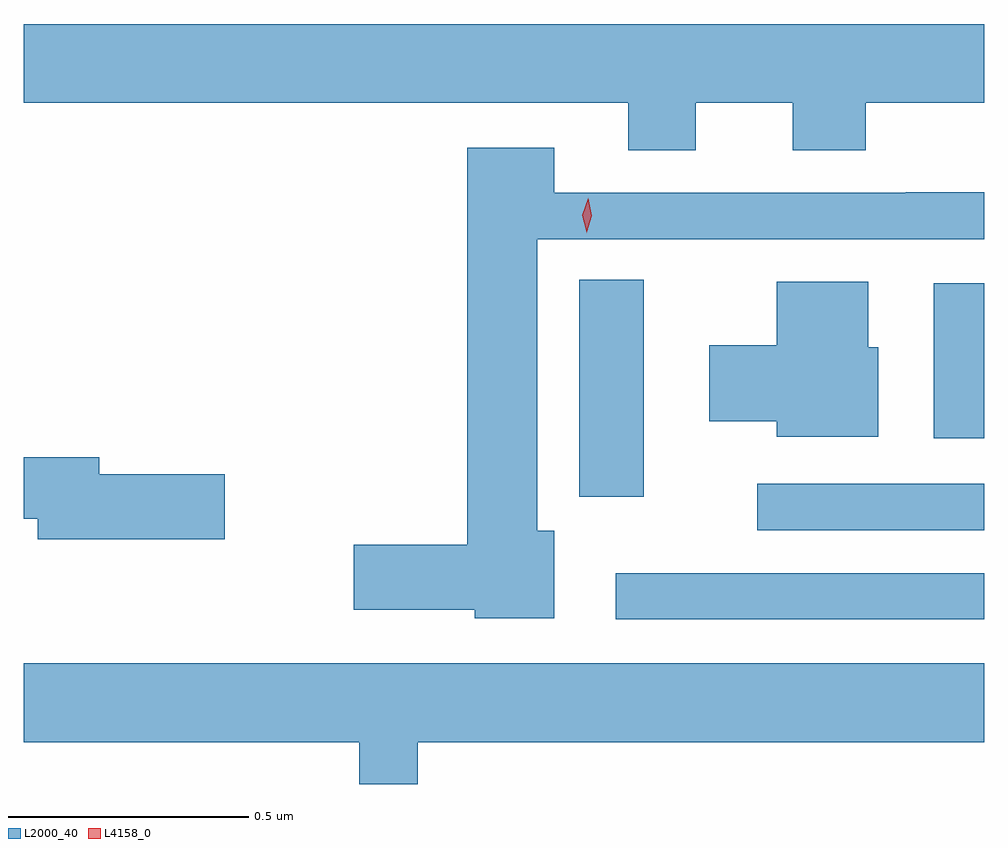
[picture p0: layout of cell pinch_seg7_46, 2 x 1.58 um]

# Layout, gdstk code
import gdstk
lib = gdstk.Library(unit=1e-6, precision=1e-09)
def R(c, l, rs):  # rectangles x0, y0, x1, y1
    for r in rs: c.add(gdstk.rectangle(r[:2], r[2:], *l))
def P(c, l, *ps):  # polygons
    for p in ps: c.add(gdstk.Polygon(p, *l))
L2000_40 = (2000, 40)
L4158_0 = (4158, 0)

pinch_seg7_46 = lib.new_cell('pinch_seg7_46')
R(pinch_seg7_46, L2000_40, [(1018.14,1064.808,1018.907,1064.904), (1018.434,1064.994,1018.907,1065.09), (1018.064,1065.063,1018.198,1065.515), (1018.802,1065.185,1018.907,1065.508)])
P(pinch_seg7_46, L2000_40, [(1018.306,1065.884),(1018.508,1065.884),(1018.508,1065.785),(1018.661,1065.785),(1018.661,1065.884),(1018.907,1065.884),(1018.907,1066.048),(1016.907,1066.048),(1016.907,1065.884),(1018.166,1065.884),(1018.166,1065.785),(1018.306,1065.785)],
  [(1018.012,1064.992),(1017.976,1064.992),(1017.976,1065.6),(1018.907,1065.6),(1018.907,1065.698),(1018.744,1065.698),(1018.744,1065.696),(1018.012,1065.696),(1018.012,1065.79),(1017.83,1065.79),(1017.83,1064.963),(1017.594,1064.963),(1017.594,1064.828),(1017.846,1064.828),(1017.846,1064.81),(1018.012,1064.81)],
  [(1018.687,1065.375),(1018.666,1065.375),(1018.666,1065.511),(1018.475,1065.511),(1018.475,1065.379),(1018.335,1065.379),(1018.335,1065.221),(1018.475,1065.221),(1018.475,1065.188),(1018.687,1065.188)],
  [(1017.325,1065.11),(1017.064,1065.11),(1017.064,1065.146),(1016.907,1065.146),(1016.907,1065.018),(1016.936,1065.018),(1016.936,1064.975),(1017.325,1064.975)],
  [(1016.907,1064.552),(1017.605,1064.552),(1017.605,1064.465),(1017.727,1064.465),(1017.727,1064.552),(1018.907,1064.552),(1018.907,1064.716),(1016.907,1064.716)])
P(pinch_seg7_46, L4158_0, [(1018.079,1065.613),(1018.079,1065.614),(1018.07,1065.65),(1018.082,1065.685),(1018.082,1065.685),(1018.082,1065.685),(1018.09,1065.649),(1018.079,1065.614)])

lib.write_gds('pinch_seg7_46.gds')
